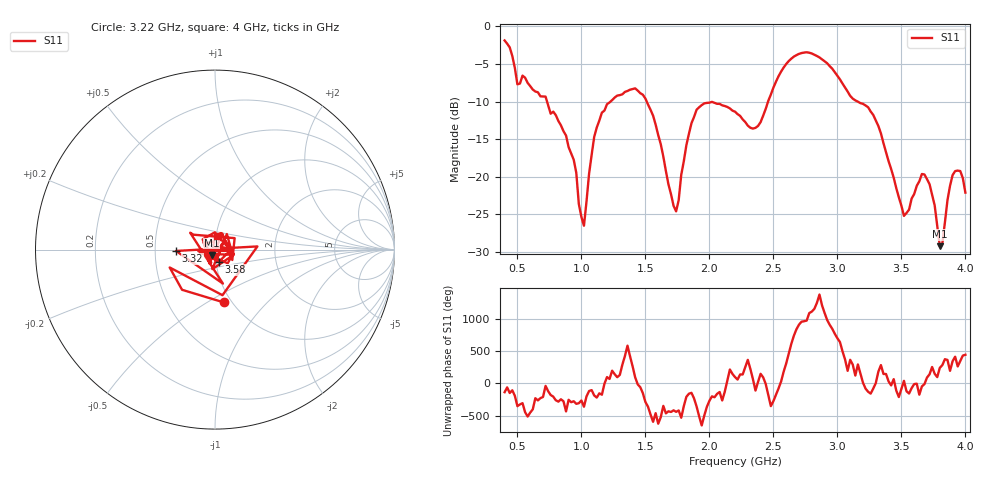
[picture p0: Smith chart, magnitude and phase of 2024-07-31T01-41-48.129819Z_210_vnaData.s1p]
!Created with skrf (http://scikit-rf.org).
# Hz S RI R 50.0
!freq ReS11 ImS11
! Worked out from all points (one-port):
!   181 points, 400 MHz to 4 GHz, reference 50 ohm
!   lowest |S11| = -29.2 dB at 3.8 GHz (marker M1), VSWR 1.07, Z = 48.2 - j2.89 ohm
!   |S11| at or under -10 dB: 731.3 MHz to 1.228 GHz (496.6 MHz wide, 50.7 % of centre); 1.51 GHz to 2.458 GHz (948.1 MHz wide, 47.8 % of centre); 3.158 GHz to end of sweep
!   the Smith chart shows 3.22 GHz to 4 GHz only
!   S11 on the Smith chart (normalised r, x): 3.22 GHz: 0.92, -0.59; 3.32 GHz: 0.64, -0.01; 3.58 GHz: 1.03, -0.14; 4 GHz: 1.01, +0.16
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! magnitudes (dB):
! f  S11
! 400 MHz  -1.9
! 500 MHz  -7.7
! 720 MHz  -9.4
! 860 MHz  -13.9
! 940 MHz  -17.7
! 1.02 GHz  -26.5
! 1.12 GHz  -13.5
! 1.3 GHz  -9.1
! 1.5 GHz  -9.6
! 1.72 GHz  -23.9
! 1.76 GHz  -23.1
! 1.82 GHz  -15.8
! 1.9 GHz  -11.1
! 2.2 GHz  -11.3
! 2.38 GHz  -13.3
! 2.66 GHz  -4.0
! 2.86 GHz  -4.1
! 3.1 GHz  -9.3
! 3.22 GHz  -10.5
! 3.32 GHz  -13.3
! 3.52 GHz  -25.2
! 3.56 GHz  -24.4
! 3.58 GHz  -22.9
! 3.68 GHz  -19.7
! 3.76 GHz  -23.8
! 3.8 GHz  -29.2
! 3.9 GHz  -19.8
! 4 GHz  -22.1
